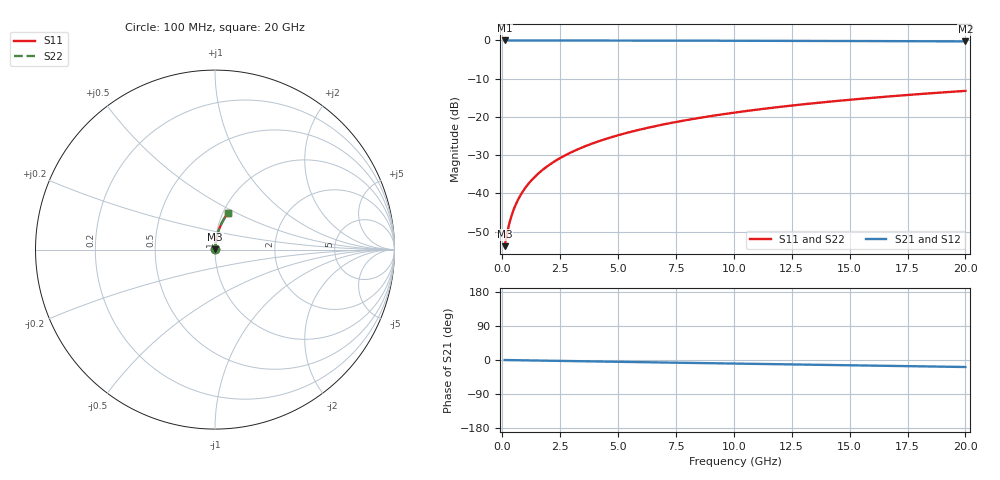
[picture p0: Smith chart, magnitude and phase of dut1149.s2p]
! Touchstone file exported from HFSS 2026.1.0
!  File:  C:/ffzhzh/LocalFiles/Ansys_Project_Files/temp_train_TMRDL_1149_1783162101_55132.aedt
!  Generated:  06:49:34 PM Jul  4, 2026
!  Design:  TMRDL
!  Project:  temp_train_TMRDL_1149_1783162101_55132
! Variables:
!  h_bsmrdl = 2um
!  h_ox = 20um
!  h_rdl = 5um
!  h_sub = 80um
!  h_tmrdl = 2.74um
!  h_tsv = 80um
!  h_via = 3um
!  l_bsmrdl = 300um
!  l_sub = 597.99um
!  l_tmrdl = 197.99um
!  m_sub = 200um
!  pitch = 52.89um
!  r_tsv = 6um
!  s_tmrdl = 10um
!  w_bsmrdl = 18um
!  w_sub = 500um
!  w_tmrdl = 18.61um
!  x_tsv_center1 = 207.295um
!  x_tsv_center2 = 525.295um
!  x_tsv_center3 = 741.895um
!  x_tsv_center4 = 1059.895um
!  x_tsv_center5 = 1276.495um
!  x_tsv_center6 = 1594.495um
# GHz S MA R 50.000000
! Terminal data exported
! Port[1] = TM_RDL1_1_T1
! Port[2] = TM_RDL1_1_T2
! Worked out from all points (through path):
!   200 points, 100 MHz to 20 GHz, reference 50 ohm
!   highest |S21| = -0.01 dB at 100 MHz (marker M1); lowest = -0.3 dB at 20 GHz (marker M2)
!   group delay of S21, straight-line fit = 2.57 ps
!   lowest |S11| = -53.8 dB at 100 MHz (marker M3), VSWR 1.00, Z = 50.2 + j0.123 ohm
!   |S11| at or under -10 dB: start of sweep to end of sweep
!   |S22| runs from -53.8 to -13.2 dB; largest |S21 - S12| = 3.5e-15
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0.1  0.002049 36.7  0.9984 -0.1  0.9984 -0.1  0.002049 36.7
! Gamma 0 0 0 0
! Port Impedance 50 0 50 0
0.2  0.002961 55.4  0.9983 -0.2  0.9983 -0.2  0.002961 55.4
0.3  0.004026 64.5  0.9983 -0.3  0.9983 -0.3  0.004026 64.5
0.4  0.005136 69.5  0.9982 -0.4  0.9982 -0.4  0.005136 69.5
0.5  0.006259 72.7  0.9982 -0.5  0.9982 -0.5  0.006259 72.7
0.6  0.007386 74.9  0.9981 -0.6  0.9981 -0.6  0.007386 74.9
0.8  0.009645 77.8  0.998 -0.8  0.998 -0.8  0.009645 77.8
1.1  0.01304 80.2  0.9979 -1.1  0.9979 -1.1  0.01304 80.2
1.5  0.0176 81.9  0.9978 -1.4  0.9978 -1.4  0.0176 81.9
1.8  0.02103 82.6  0.9977 -1.7  0.9977 -1.7  0.02103 82.6
2.1  0.02446 83.1  0.9976 -2.0  0.9976 -2.0  0.02446 83.1
2.7  0.03133 83.5  0.9973 -2.6  0.9973 -2.6  0.03133 83.5
3.5  0.04049 83.5  0.9969 -3.3  0.9969 -3.3  0.04049 83.5
4.2  0.0485 83.2  0.9965 -4.0  0.9965 -4.0  0.0485 83.2
5  0.05761 82.8  0.9959 -4.7  0.9959 -4.7  0.05761 82.8
5.9  0.06783 82.2  0.9951 -5.6  0.9951 -5.6  0.06783 82.2
6.8  0.07799 81.5  0.9942 -6.4  0.9942 -6.4  0.07799 81.5
8.3  0.0948 80.3  0.9924 -7.8  0.9924 -7.8  0.0948 80.3
10.1  0.1147 78.8  0.99 -9.5  0.99 -9.5  0.1147 78.8
13.4  0.1505 75.9  0.9845 -12.5  0.9845 -12.5  0.1505 75.9
16.7  0.1853 73.0  0.978 -15.5  0.978 -15.5  0.1853 73.0
20  0.219 70.2  0.9706 -18.5  0.9706 -18.5  0.219 70.2
